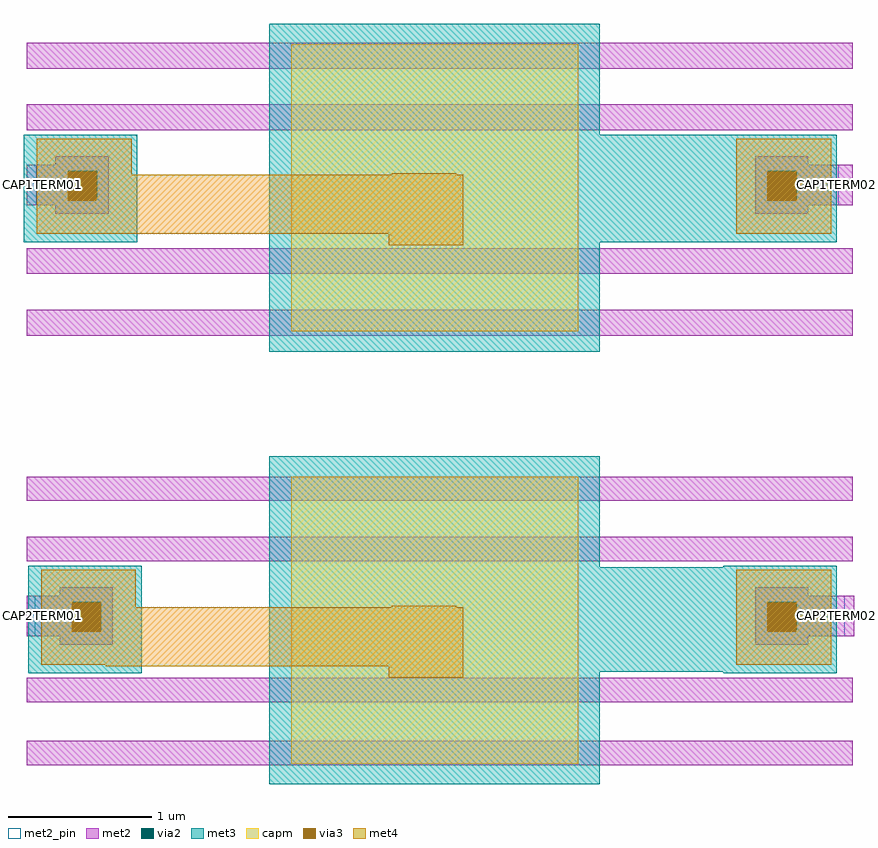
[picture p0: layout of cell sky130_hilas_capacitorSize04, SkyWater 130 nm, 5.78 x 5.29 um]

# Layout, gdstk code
import gdstk
lib = gdstk.Library(unit=1e-6, precision=1e-09)
def R(c, l, rs):  # rectangles x0, y0, x1, y1
    for r in rs: c.add(gdstk.rectangle(r[:2], r[2:], *l))
met2_pin = (69, 16)
met2 = (69, 20)
via2 = (69, 44)
met3 = (70, 20)
via3 = (70, 44)
met4 = (71, 20)
capm = (89, 44)

sky130_hilas_capmodule01 = lib.new_cell('sky130_hilas_CapModule01a')
R(sky130_hilas_capmodule01, met3, [(-4.16,-2.16,-1.86,0.12)])
R(sky130_hilas_capmodule01, met4, [(-3.33,-1.42,-2.81,-0.93), (-3.31,-0.93,-2.86,-0.92)])
R(sky130_hilas_capmodule01, capm, [(-4.01,-2.02,-2.01,-0.02)])

sky130_hilas_m22m4 = lib.new_cell('sky130_hilas_m22m4')
R(sky130_hilas_m22m4, met2, [(-0.14,-0.16,0.23,0.24)])
R(sky130_hilas_m22m4, via2, [(-0.05,-0.06,0.15,0.14)])
R(sky130_hilas_m22m4, met3, [(-0.36,-0.36,0.43,0.39)])
R(sky130_hilas_m22m4, via3, [(-0.055,-0.07,0.145,0.13)])
R(sky130_hilas_m22m4, met4, [(-0.27,-0.3,0.39,0.36)])

sky130_hilas_capacitorsi = lib.new_cell('sky130_hilas_capacitorSize04')
R(sky130_hilas_capacitorsi, met2_pin, [(14.17,0.85,14.23,1.13), (19.86,0.85,19.93,1.13), (14.17,3.85,14.24,4.13), (19.82,3.85,19.92,4.13)])
R(sky130_hilas_capacitorsi, met2, [(14.17,-0.05,19.92,0.12), (14.17,0.39,19.92,0.56), (14.17,0.85,14.45,1.13), (19.57,0.85,19.93,1.13), (14.17,1.37,19.92,1.54), (14.17,1.79,19.92,1.96), (14.17,2.94,19.92,3.12), (14.17,3.37,19.92,3.55), (14.17,3.85,14.44,4.13), (19.57,3.85,19.92,4.13), (14.17,4.37,19.92,4.55), (14.17,4.8,19.92,4.98)])
R(sky130_hilas_capacitorsi, met3, [(18,0.6,19.06,1.33), (18.01,3.59,19.04,4.34)])
R(sky130_hilas_capacitorsi, met4, [(14.72,0.64,16.84,1.05), (14.41,3.65,17.2,4.06)])
sky130_hilas_capacitorsi.add(gdstk.Reference(sky130_hilas_capmodule01, (20.02,4.99)))
sky130_hilas_capacitorsi.add(gdstk.Reference(sky130_hilas_capmodule01, (20.02,1.98)))
sky130_hilas_capacitorsi.add(gdstk.Reference(sky130_hilas_m22m4, (14.51,3.95)))
sky130_hilas_capacitorsi.add(gdstk.Reference(sky130_hilas_m22m4, (14.54,0.95)))
sky130_hilas_capacitorsi.add(gdstk.Reference(sky130_hilas_m22m4, (19.38,3.95)))
sky130_hilas_capacitorsi.add(gdstk.Reference(sky130_hilas_m22m4, (19.38,0.95)))
sky130_hilas_capacitorsi.add(gdstk.Label('CAP1TERM02', (19.87,3.99), layer=69, texttype=16))
sky130_hilas_capacitorsi.add(gdstk.Label('CAP2TERM02', (19.895,0.99), layer=69, texttype=16))
sky130_hilas_capacitorsi.add(gdstk.Label('CAP2TERM01', (14.2,0.99), layer=69, texttype=16))
sky130_hilas_capacitorsi.add(gdstk.Label('CAP1TERM01', (14.205,3.99), layer=69, texttype=16))

lib.write_gds('sky130_hilas_capacitorSize04.gds')
